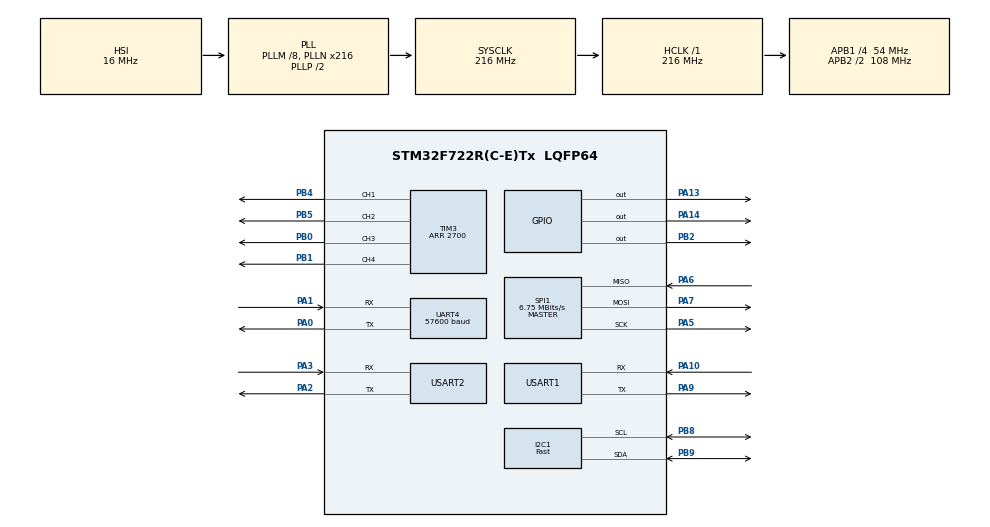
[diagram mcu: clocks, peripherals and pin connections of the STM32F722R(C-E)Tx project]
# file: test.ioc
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Dma.Request0=USART2_RX
Dma.Request1=USART1_RX
Dma.USART1_RX.1.Direction=DMA_PERIPH_TO_MEMORY
Dma.USART1_RX.1.FIFOMode=DMA_FIFOMODE_DISABLE
Dma.USART1_RX.1.Instance=DMA2_Stream2
Dma.USART1_RX.1.MemDataAlignment=DMA_MDATAALIGN_BYTE
Dma.USART1_RX.1.MemInc=DMA_MINC_ENABLE
Dma.USART1_RX.1.Mode=DMA_NORMAL
Dma.USART1_RX.1.PeriphDataAlignment=DMA_PDATAALIGN_BYTE
Dma.USART1_RX.1.PeriphInc=DMA_PINC_DISABLE
Dma.USART1_RX.1.Priority=DMA_PRIORITY_LOW
Dma.USART2_RX.0.Direction=DMA_PERIPH_TO_MEMORY
Dma.USART2_RX.0.FIFOMode=DMA_FIFOMODE_DISABLE
Dma.USART2_RX.0.Instance=DMA1_Stream5
Dma.USART2_RX.0.MemDataAlignment=DMA_MDATAALIGN_BYTE
Dma.USART2_RX.0.MemInc=DMA_MINC_ENABLE
Dma.USART2_RX.0.Mode=DMA_CIRCULAR
Dma.USART2_RX.0.PeriphDataAlignment=DMA_PDATAALIGN_BYTE
Dma.USART2_RX.0.PeriphInc=DMA_PINC_DISABLE
Dma.USART2_RX.0.Priority=DMA_PRIORITY_LOW
I2C1.I2C_Speed_Mode=I2C_Fast
I2C1.Timing=0x6000030D
Mcu.Family=STM32F7
Mcu.Name=STM32F722R(C-E)Tx
Mcu.Package=LQFP64
NVIC.DMA1_Stream5_IRQn=true\:0\:0\:false\:false\:true\:false\:true
NVIC.DMA2_Stream2_IRQn=true\:0\:0\:false\:false\:true\:false\:true
NVIC.I2C1_EV_IRQn=true\:1\:0\:true\:false\:true\:true\:true
NVIC.PriorityGroup=NVIC_PRIORITYGROUP_4
NVIC.TIM2_IRQn=true\:3\:0\:true\:false\:true\:true\:true
NVIC.TIM3_IRQn=true\:0\:0\:false\:false\:true\:true\:true
NVIC.TIM4_IRQn=true\:0\:0\:false\:false\:true\:true\:true
NVIC.UART4_IRQn=true\:0\:0\:false\:false\:true\:true\:true
NVIC.USART1_IRQn=true\:0\:0\:false\:false\:true\:true\:true
NVIC.USART2_IRQn=true\:0\:0\:false\:false\:true\:true\:true
PA0-WKUP.Mode=Asynchronous
PA0-WKUP.Signal=UART4_TX
PA1.Mode=Asynchronous
PA1.Signal=UART4_RX
PA10.Mode=Asynchronous
PA10.Signal=USART1_RX
PA13.GPIO_Speed=GPIO_SPEED_FREQ_VERY_HIGH
PA13.Signal=GPIO_Output
PA14.GPIO_Speed=GPIO_SPEED_FREQ_VERY_HIGH
PA14.Signal=GPIO_Output
PA2.Mode=Asynchronous
PA2.Signal=USART2_TX
PA3.Mode=Asynchronous
PA3.Signal=USART2_RX
PA5.Mode=Full_Duplex_Master
PA5.Signal=SPI1_SCK
PA6.GPIO_PuPd=GPIO_NOPULL
PA6.Mode=Full_Duplex_Master
PA6.Signal=SPI1_MISO
PA7.GPIO_PuPd=GPIO_NOPULL
PA7.Mode=Full_Duplex_Master
PA7.Signal=SPI1_MOSI
PA9.Mode=Asynchronous
PA9.Signal=USART1_TX
PB0.Signal=S_TIM3_CH3
PB1.Signal=S_TIM3_CH4
PB2.GPIO_Speed=GPIO_SPEED_FREQ_VERY_HIGH
PB2.Signal=GPIO_Output
PB4.Signal=S_TIM3_CH1
PB5.Signal=S_TIM3_CH2
PB8.GPIO_Pu=GPIO_PULLUP
PB8.Mode=I2C
PB8.Signal=I2C1_SCL
PB9.GPIO_Pu=GPIO_PULLUP
PB9.Mode=I2C
PB9.Signal=I2C1_SDA
PC14-OSC32_IN.Mode=LSE-External-Oscillator
PC14-OSC32_IN.Signal=RCC_OSC32_IN
PC15-OSC32_OUT.Mode=LSE-External-Oscillator
PC15-OSC32_OUT.Signal=RCC_OSC32_OUT
PH0-OSC_IN.Mode=HSE-External-Clock-Source
PH0-OSC_IN.Signal=RCC_OSC_IN
PH1-OSC_OUT.Mode=HSE-External-Clock-Source
PH1-OSC_OUT.Signal=RCC_OSC_OUT
ProjectManager.HeapSize=0x200
ProjectManager.StackSize=0x400
ProjectManager.TargetToolchain=STM32CubeIDE
RCC.AHBFreq_Value=216000000
RCC.APB1CLKDivider=RCC_HCLK_DIV4
RCC.APB1Freq_Value=54000000
RCC.APB1TimFreq_Value=108000000
RCC.APB2CLKDivider=RCC_HCLK_DIV2
RCC.APB2Freq_Value=108000000
RCC.APB2TimFreq_Value=216000000
RCC.CortexFreq_Value=216000000
RCC.HCLKFreq_Value=216000000
RCC.HSE_VALUE=25000000
RCC.HSI_VALUE=16000000
RCC.PLLM=8
RCC.PLLN=216
RCC.SYSCLKFreq_VALUE=216000000
RCC.SYSCLKSource=RCC_SYSCLKSOURCE_PLLCLK
RCC.USBFreq_Value=216000000
RCC.VCOOutputFreq_Value=432000000
SH.S_TIM3_CH1.0=TIM3_CH1,PWM Generation1 CH1
SH.S_TIM3_CH2.0=TIM3_CH2,PWM Generation2 CH2
SH.S_TIM3_CH3.0=TIM3_CH3,PWM Generation3 CH3
SH.S_TIM3_CH4.0=TIM3_CH4,PWM Generation4 CH4
SPI1.BaudRatePrescaler=SPI_BAUDRATEPRESCALER_16
SPI1.CLKPhase=SPI_PHASE_1EDGE
SPI1.CLKPolarity=SPI_POLARITY_LOW
SPI1.CalculateBaudRate=6.75 MBits/s
SPI1.DataSize=SPI_DATASIZE_8BIT
SPI1.Direction=SPI_DIRECTION_2LINES
SPI1.Mode=SPI_MODE_MASTER
SPI1.NSSPMode=SPI_NSS_PULSE_DISABLE
SPI1.VirtualType=VM_MASTER
TIM2.AutoReloadPreload=TIM_AUTORELOAD_PRELOAD_ENABLE
TIM2.ClockDivision=TIM_CLOCKDIVISION_DIV1
TIM2.Period=27000
TIM3.AutoReloadPreload=TIM_AUTORELOAD_PRELOAD_ENABLE
TIM3.Channel-PWM\ Generation1\ CH1=TIM_CHANNEL_1
TIM3.Channel-PWM\ Generation2\ CH2=TIM_CHANNEL_2
TIM3.Channel-PWM\ Generation3\ CH3=TIM_CHANNEL_3
TIM3.Channel-PWM\ Generation4\ CH4=TIM_CHANNEL_4
TIM3.Period=2700
TIM3.Pulse-PWM\ Generation1\ CH1=540
TIM3.Pulse-PWM\ Generation2\ CH2=540
TIM3.Pulse-PWM\ Generation3\ CH3=540
TIM3.Pulse-PWM\ Generation4\ CH4=540
TIM4.AutoReloadPreload=TIM_AUTORELOAD_PRELOAD_ENABLE
TIM4.ClockDivision=TIM_CLOCKDIVISION_DIV1
TIM4.Period=1620
TIM4.Prescaler=2000
UART4.BaudRate=57600
USART1.VirtualMode-Asynchronous=VM_ASYNC
USART2.VirtualMode-Asynchronous=VM_ASYNC
VP_TIM2_VS_ClockSourceINT.Mode=Internal
VP_TIM3_VS_ClockSourceINT.Mode=Internal
VP_TIM4_VS_ClockSourceINT.Mode=Internal
board=custom

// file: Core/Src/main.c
/* USER CODE BEGIN Header */
/**
  ******************************************************************************
  * @file           : main.c
  * @brief          : Main program body
  ******************************************************************************
  * @attention
  *
  * <h2><center>&copy; Copyright (c) 2021 STMicroelectronics.
  * All rights reserved.</center></h2>
  *
  * This software component is licensed by ST under BSD 3-Clause license,
  * the "License"; You may not use this file except in compliance with the
  * License. You may obtain a copy of the License at:
  *                        opensource.org/licenses/BSD-3-Clause
  *
  ******************************************************************************
  */
/* USER CODE END Header */
#include "main.h"
#include "dma.h"
#include "i2c.h"
#include "spi.h"
#include "tim.h"
#include "usart.h"
#include "gpio.h"

/* USER CODE BEGIN Includes */
#include "string.h"
#include "math.h"
#include "stdbool.h"
#include "filters.h"
#include "ibus.h"
#include "Baro.h"
#include "imu.h"
#include "AHRS.h"
#include "opticalflow.h"
#include "AERS.h"
/* USER CODE END Includes */

/* USER CODE BEGIN PV */

uint16_t failsafe;

uint16_t i = 0;
uint16_t debug;
uint16_t debug2;

float InputfltR,InputfltP,dinputR,dinputP;

uint16_t in_pitch, in_roll, in_throttle, in_yaw;
uint8_t MSG[100] = {'\0'};

uint16_t motor1_out,motor2_out,motor3_out,motor4_out;

#define P 0
#define I 1
#define D 2
#define D2 3
#define R 1
#define Y 2
float ERR[3][4];
float err_last[2];
float K[3][4]= {
	{17000, 0, 2.5 ,12},	//pitch PIDD2  p:50 d:3000
	{17000, 0, 2.5, 12},	//roll PIDD2
	{0.8, 0, 0, 0},	//Yaw PIDD2
};
float roll_factor, pitch_factor, yaw_factor,input_throttle;

bool safety_flag;

biquadFilter_t alt_biquad,delta_alt_biquad;

uint8_t buffer;

//struct filterstruct filter;
/* USER CODE END PV */

void SystemClock_Config(void);
/* USER CODE BEGIN PFP */
void init_filter (biquadFilter_t *filter);
float biquadFilterApply(biquadFilter_t *filter,float input);
float biquadFilterApplyDF1(float input);
void check_arm_satus (void);

#ifdef __GNUC__
  /* With GCC, small printf (option LD Linker->Libraries->Small printf
     set to 'Yes') calls __io_putchar() */
  #define PUTCHAR_PROTOTYPE int __io_putchar(int ch)
#else
  #define PUTCHAR_PROTOTYPE int fputc(int ch, FILE *f)
#endif /* __GNUC__ */

PUTCHAR_PROTOTYPE
{
  /* Place your implementation of fputc here */
  /* e.g. write a character to the EVAL_COM1 and Loop until the end of transmission */
  HAL_UART_Transmit(&huart4, (uint8_t *)&ch, 1, 0xFFFF);

  return ch;
}
/* USER CODE END PFP */

int main(void)
{

  /* MCU Configuration--------------------------------------------------------*/

  /* Reset of all peripherals, Initializes the Flash interface and the Systick. */
  HAL_Init();

  /* USER CODE BEGIN Init */
  //uint8_t UART4_rxBuffer[12] = {0};

 // UART_HandleTypeDef huart4;
  /* USER CODE END Init */

  /* Configure the system clock */
  SystemClock_Config();

  /* Initialize all configured peripherals */
  MX_GPIO_Init();
  MX_DMA_Init();
  MX_UART4_Init();
  MX_SPI1_Init();
  MX_TIM3_Init();
  MX_TIM2_Init();
  MX_USART2_UART_Init();
  MX_I2C1_Init();
  MX_USART1_UART_Init();
  MX_TIM4_Init();
  /* USER CODE BEGIN 2 */

  configure_ibus(&huart2);

 while (opticalflow.lidar.distance == 0)
 {
	 enable_opticalflow(&huart1);
	 HAL_Delay(10);
 }

  init_biquad_filter(&delta_alt_biquad,12.0f,4000.0f);

  HAL_UART_Receive_IT(&huart4, &buffer, 1);
//  HAL_UART_Receive_IT(&huart3, &opticalflow.message.start,7);

 // HAL_UART_Init(&huart3);
 // HAL_Delay(100);
  //enable_opticalflow(&huart3);

 configure_imu (&hspi1,GPIOB,GPIO_PIN_2);

 configure_baro(&hi2c1);

 // calabrate_acc_gyr(&IMU);

  //HAL_Delay(10000);
 // HAL_GPIO_WritePin(GPIOB, GPIO_PIN_2, GPIO_PIN_RESET);
 // HAL_GPIO_WritePin(GPIOB, GPIO_PIN_2, GPIO_PIN_SET);
HAL_TIM_Base_Start_IT(&htim2);

HAL_TIM_PWM_Start(&htim3, TIM_CHANNEL_1);
HAL_TIM_PWM_Start(&htim3, TIM_CHANNEL_2);
HAL_TIM_PWM_Start(&htim3, TIM_CHANNEL_3);
HAL_TIM_PWM_Start(&htim3, TIM_CHANNEL_4);

HAL_TIM_Base_Start_IT(&htim4);

            //  HAL_UART_Receive_DMA(&huart2, ibus, BUFFER_LEN);

    //HAL_GPIO_WritePin(GPIOB, GPIO_PIN_2, GPIO_PIN_RESET);
  //  HAL_GPIO_WritePin(GPIOC, GPIO_PIN_15, GPIO_PIN_RESET);
   // reg_address = 0x75 | 0x80;
   // HAL_SPI_Transmit(&hspi1, &reg_address, 1, 100);
    //HAL_SPI_Receive(&hspi1, &data_rx, 1, 100);
   // HAL_GPIO_WritePin(GPIOB, GPIO_PIN_2, GPIO_PIN_RESET);
   // HAL_GPIO_WritePin(GPIOC, GPIO_PIN_15, GPIO_PIN_RESET);
   // HAL_SPI_TransmitReceive(&hspi1, &reg_address, &data_rx, 2, 100);

   // HAL_GPIO_WritePin(GPIOB, GPIO_PIN_2, GPIO_PIN_SET);
   // HAL_GPIO_WritePin(GPIOC, GPIO_PIN_15,GPIO_PIN_SET);
    //printf("%i,%i,%i\r\n",data_rx[0],data_rx[1],data_rx[2]);
//HAL_Delay(5000);
//TIM3->CCR1 = 900;
//TIM3->CCR2 = 900;

 //HAL_UART_DeInit(&huart3);
 //HAL_Delay(100);
//printf("%f	",c0);
//printf("%f	",c1);
//printf("%f	",c00);
//printf("%f	",c10);
//printf("%f	",c01);
//printf("%f	",c11);
//printf("%f	",c20);
//printf("%f	",c21);
//printf("%f	\r\n",c30);

 while (pressure == 0){
	 read_baro();
 }
	 // registerSetBits(dev, DPS310_REG_PRS_CFG, DPS310_PRS_CFG_BIT_PM_RATE_32HZ | DPS310_PRS_CFG_BIT_PM_PRC_16);

 InitKalmanZ (&NavZ);
float initalAlt = pressureToAltitude(pressure);
  /* USER CODE END 2 */

  /* Infinite loop */
  while (1)
  {

    /* USER CODE BEGIN 3 */
	//  HAL_GPIO_WritePin(GPIOB, GPIO_PIN_2, GPIO_PIN_RESET);
	//  HAL_GPIO_WritePin(GPIOB, GPIO_PIN_2, GPIO_PIN_RESET);

	  //  data_tx[0] = 0x6A;
	  //  data_tx[1] = 0x10;
	  //  HAL_SPI_Transmit(&hspi1, data_tx, 2, 100);
	  //  HAL_GPIO_WritePin(GPIOB, GPIO_PIN_2, GPIO_PIN_SET);

	   // data_tx[0] = 0x6A;
	  //  data_tx[1] = 0x10;
	  //  HAL_SPI_Transmit(&hspi1, data_tx, 2, 100);
	   // HAL_GPIO_WritePin(GPIOB, GPIO_PIN_2, GPIO_PIN_SET);
	  //  HAL_Delay(1);
	 // reg_address = 0x75 | 0x80;
	    //HAL_GPIO_WritePin(GPIOB, GPIO_PIN_2, GPIO_PIN_RESET);

	    //HAL_SPI_Transmit(&hspi1, &reg_address, 1, 100);
	   //// HAL_GPIO_WritePin(GPIOB, GPIO_PIN_2, GPIO_PIN_SET);
	  //  HAL_GPIO_WritePin(GPIOB, GPIO_PIN_2, GPIO_PIN_RESET);
	 // HAL_SPI_Receive(&hspi1, &data_rx, 1, 100);
	 // HAL_GPIO_WritePin(GPIOB, GPIO_PIN_2, GPIO_PIN_RESET);
	   // HAL_SPI_TransmitReceive(&hspi1, &reg_address, &data_rx, 2, 100);
	    //HAL_GPIO_WritePin(GPIOB, GPIO_PIN_2, GPIO_PIN_SET);

if (failsafe > 2000)
{
	safety_flag = 0;
}
	 // printf("hi\r\n");
	//  in_pitch = ibus[1];
	 // 	  in_roll = ibus[2];
	  //	  in_throttle = ibus[3];
	  	//  in_yaw = ibus[4];
	 // HAL_UART_Receive(&huart3, ibus, 1,100);

	  	 // for (i=0;i<8;i++)
	  	  //{
	  	//	  printf("%i	",ibus[i]);
	  	 // }
	  	// printf("\r\n");
	  	 // printf("%4d\t%4d\t%4d\t%4d\t", ibus[1], in_roll, in_throttle, in_yaw);
	 // printf("%i,	%i,	%i,	%i,	%i,	%i,	%i	",acc_data[7],acc_data[8],acc_data[9],acc_data[10],acc_data[11],acc_data[12],acc_data[13]);
	//  printf("%i,	%i,	%i,	%i,	%i,	%i,	%i,	%i,	%i,	%i,	%i\r\n",ibus[0],ibus[1],ibus[2],ibus[3],ibus[4],ibus[5],ibus[6],ibus[7],ibus[8],ibus[9],ibus[10]);
	// printf("%f,	%f,	%f	%f,\r\n",InputP,InputR,InputY,InputT);
	 // printf("%i	%i	%i",InputR,fgyry,debug);
//	 printf("	%f	%f	%f",gyrx,gyry,gyrz);
 //printf("	%f	%f	%f	%f	",roll_factor,pitch_factor,dinputR,dinputP);
//printf("%i	",safety_flag);

//printf("%f\r\n",motor1_out);
	  // read_baro();
	 // update_AERS();

	 // printf("%f 	%f\r\n",pressure,temperature);
///printf("%f	%f	%f	%f	%f	%f	%i	",gyrx,gyry,gyrz,accx,accy,accz,debug);

//printf("%i	%i	%i	%i\r\n",opticalflow.lidar.distance,opticalflow.flow.vx,opticalflow.flow.vy,debug);
	 // baro_alt = (-pressure + inital_preqssure)*11.1;
	 // printf("%f	\r\n",baro_alt);
	//  printf("%f	%f	%f\r\n",InputR,InputP,InputY);
	  //printf("%f	%f	%f\r\n",baro_alt,pressure,temperature);
	//  printf("%i	",DPS310_rx_buffer[2]);
	//  printf("%i\r\n",DPS310_rx_buffer[3]);
	    //HAL_Delay(100);
	  //  printf("%f,	%f,	%f\r\n", rMat[0][0], rMat[0][1], rMat[0][2]);
	   // printf("%f,	%f,	%f\r\n", rMat[1][0], rMat[1][1], rMat[1][2]);
	   // printf("%f,	%f,	%f\r\n", rMat[2][0], rMat[2][1], rMat[2][2]);
	   // printf("\r\n\r\n\r\n\r\n\r\n\r\n\r\n\r\n\r\n\r\n");

	  //  printf("%f,	%f,	%f	", roll, pitch, yaw);
//printf("%i	%i",debug,debug2);
//float newBaroAlt = pressureToAltitude(pressure);

//if (M_FLAG){
	//initalAlt = newBaroAlt;
//}

	//printf("%f	%f	%f	%f\r\n",(newBaroAlt-initalAlt),pressure,initalAlt,newBaroAlt);
	//printf("%i	 ",debug);
	//read_baro();
	   // printf("%f,	%f,	%f	", roll, pitch, yaw);
	   // printf("%f	%f	%f	%f	%f	%f	\r\n",IMU.accx,IMU.accy,IMU.accz,IMU.gyrx,IMU.gyry,IMU.gyrz);
	   // printf("hi %i,%i,%i\r\n",acc_data[0],acc_data[1],acc_data[2]);
	   // TIM3->CCR1 = ibus[4];
	   // TIM3->CCR2 = ibus[4];
	    //TIM3->CCR3 = ibus[4];
	 	//TIM3->CCR4 = ibus[4];

//printf("%f	%f	%f	%f",NavZ.Acc.Acc,NavZ.Est.Pos,NavZ.Est.Vel,NavZ.Acc.Bias);

//printf("%f	%f	%f	",NavZ.Corr.Pos,NavZ.Corr.Vel,baroAltResidual);

//printf("%f	%f	%f",NavZ.Rusult.Pos,NavZ.Rusult.Vel,NavZ.Baro.Pos);

//for (uint16_t i = 0; i<11;i++)
//{
	//printf("%f\t",*((float*)(&NavAlt)+i));
//}

//printf("%i\r\n",debug);
//printf("\r\n");
printf("%f	%f	%f	%f	%f	%f\r\n",NavAlt.BaroAlt*10,NavAlt.BaroVel,NavAlt.Pos*10,NavAlt.Vel,NavAlt.accint_delayed*400,NavAlt.VelCorr*400);
//printf ("%i		",BuffPtr);
//printf("%f	",NavAlt.Acc_feedback);
//printf("%f	%f\r\n",NavAlt.BaroVel,NavAlt.Vel);
  }

 // }
  /* USER CODE END 3 */
}

void SystemClock_Config(void)
{
  RCC_OscInitTypeDef RCC_OscInitStruct = {0};
  RCC_ClkInitTypeDef RCC_ClkInitStruct = {0};
  RCC_PeriphCLKInitTypeDef PeriphClkInitStruct = {0};

  /** Configure LSE Drive Capability
  */
  HAL_PWR_EnableBkUpAccess();
  /** Configure the main internal regulator output voltage
  */
  __HAL_RCC_PWR_CLK_ENABLE();
  __HAL_PWR_VOLTAGESCALING_CONFIG(PWR_REGULATOR_VOLTAGE_SCALE1);
  /** Initializes the RCC Oscillators according to the specified parameters
  * in the RCC_OscInitTypeDef structure.
  */
  RCC_OscInitStruct.OscillatorType = RCC_OSCILLATORTYPE_HSI;
  RCC_OscInitStruct.HSIState = RCC_HSI_ON;
  RCC_OscInitStruct.HSICalibrationValue = RCC_HSICALIBRATION_DEFAULT;
  RCC_OscInitStruct.PLL.PLLState = RCC_PLL_ON;
  RCC_OscInitStruct.PLL.PLLSource = RCC_PLLSOURCE_HSI;
  RCC_OscInitStruct.PLL.PLLM = 8;
  RCC_OscInitStruct.PLL.PLLN = 216;
  RCC_OscInitStruct.PLL.PLLP = RCC_PLLP_DIV2;
  RCC_OscInitStruct.PLL.PLLQ = 2;
  if (HAL_RCC_OscConfig(&RCC_OscInitStruct) != HAL_OK)
  {
    Error_Handler();
  }
  /** Activate the Over-Drive mode
  */
  if (HAL_PWREx_EnableOverDrive() != HAL_OK)
  {
    Error_Handler();
  }
  /** Initializes the CPU, AHB and APB buses clocks
  */
  RCC_ClkInitStruct.ClockType = RCC_CLOCKTYPE_HCLK|RCC_CLOCKTYPE_SYSCLK
                              |RCC_CLOCKTYPE_PCLK1|RCC_CLOCKTYPE_PCLK2;
  RCC_ClkInitStruct.SYSCLKSource = RCC_SYSCLKSOURCE_PLLCLK;
  RCC_ClkInitStruct.AHBCLKDivider = RCC_SYSCLK_DIV1;
  RCC_ClkInitStruct.APB1CLKDivider = RCC_HCLK_DIV4;
  RCC_ClkInitStruct.APB2CLKDivider = RCC_HCLK_DIV2;

  if (HAL_RCC_ClockConfig(&RCC_ClkInitStruct, FLASH_LATENCY_7) != HAL_OK)
  {
    Error_Handler();
  }
  PeriphClkInitStruct.PeriphClockSelection = RCC_PERIPHCLK_USART1|RCC_PERIPHCLK_USART2
                              |RCC_PERIPHCLK_UART4|RCC_PERIPHCLK_I2C1;
  PeriphClkInitStruct.Usart1ClockSelection = RCC_USART1CLKSOURCE_PCLK2;
  PeriphClkInitStruct.Usart2ClockSelection = RCC_USART2CLKSOURCE_PCLK1;
  PeriphClkInitStruct.Uart4ClockSelection = RCC_UART4CLKSOURCE_PCLK1;
  PeriphClkInitStruct.I2c1ClockSelection = RCC_I2C1CLKSOURCE_PCLK1;
  if (HAL_RCCEx_PeriphCLKConfig(&PeriphClkInitStruct) != HAL_OK)
  {
    Error_Handler();
  }
}

/* USER CODE BEGIN 4 */
void PID (void);
void HAL_TIM_PeriodElapsedCallback(TIM_HandleTypeDef* htim)
{
	if (htim == &htim2)
		{
		debug2++;
			failsafe++;
			IMU_read(&IMU);
			PID();
			updateIMU(&IMU);
			debug++;
		}

	if (htim == &htim4)
	{
		//debug++;
		read_baro();
	}

}

void update_motors (uint16_t M1,uint16_t M2,uint16_t M3,uint16_t M4)
{
TIM3->CCR1 = (M3/31)+600;
TIM3->CCR2 = (M1/31)+600;
TIM3->CCR3 = (M4/31)+600;
TIM3->CCR4 = (M2/31)+600;
}

float constrainf(float input,float max, float min);

void motor_mix (void);
void PID (void)
{
	dinputR = InputfltR;
	dinputP = InputfltP;

	InputfltR = 0.958*(InputfltR) + 0.015*(InputR*938.719727597f);
	InputfltP = 0.958*(InputfltP) + 0.015*(InputP*938.719727597f);

	dinputR = 4000*(InputfltR - dinputR);
	dinputP = 4000*(InputfltP - dinputP);

	//0xFFFF/4000=16ishperdegree
	err_last[P] = ERR[P][D];
	ERR[P][P] = pitch - InputP;
	ERR[P][D] = -IMU.gyry - (dinputP);
	ERR[P][D2] = ERR[P][D] - err_last[P];

	err_last[R] = ERR[R][D];
	ERR[R][D] = IMU.gyrx - (dinputR);
	ERR[R][P] = -roll - InputR;
	ERR[R][D2] = ERR[R][D] - err_last[R];

	ERR[Y][P] = -IMU.gyrz - InputY;

	pitch_factor = (K[P][P]*ERR[P][P]) + (K[P][I]*ERR[P][I]) + (K[P][D]*ERR[P][D]) + (K[P][D2]*ERR[P][D2]);
	roll_factor = (K[R][P]*ERR[R][P]) + (K[R][I]*ERR[R][I]) + (K[R][D]*ERR[R][D]) + (K[R][D2]*ERR[R][D2]);
	yaw_factor = (K[Y][P]*ERR[Y][P]) + (K[Y][I]*ERR[Y][I]);

	//alt = alt_est;
	//d_alt = (biquadFilterApply(&delta_alt_biquad,(alt - alt1))); //   bandpass 2 lp 1 hp
//	alt_setpoint = 300;
	//alt_err  = alt - alt_setpoint;

	input_throttle = InputT*60 - NavAlt.Vel*alt_Kp;
	//input_throttle = InputT*60;
	//input_throttle = ( InputT*60 - d_alt*alt_Kp - alt_err * 0)/constrainf(costilt,1,0.6);
	motor_mix();
	//ERR[R][D2] = ERR[R][D];
	//ERR[P][D2] = ERR[P][D];
	//alt1 = alt;
}

float constrainf(float input,float max, float min)
{
	if (input < min)
	{
	return min;
	}
	else if (input > max)
	{
		return max;
	}
	else
	{
		return input;
	}
}

void motor_mix (void)
{
	motor1_out = +roll_factor - pitch_factor - yaw_factor + input_throttle + 0x2000;
	if (motor1_out < 0x1900)
	{
		motor1_out = 0x1900;
	}
	motor2_out = +roll_factor + pitch_factor + yaw_factor + input_throttle + 0x2000 ;
	if (motor2_out < 0x1900)
	{
		motor2_out = 0x1900;
	}
	motor3_out = -roll_factor - pitch_factor + yaw_factor + input_throttle + 0x2000;
	if (motor3_out < 0x1900)
	{
		motor3_out = 0x1900;
	}
	motor4_out = -roll_factor + pitch_factor - yaw_factor + input_throttle + 0x2000;
	if (motor4_out < 0x1900)
	{
		motor4_out = 0x1900;
	}

	if (safety_flag == 1)
	{
		update_motors(motor1_out,motor2_out,motor3_out,motor4_out);
	}
	else
	{
		update_motors(0,0,0,0);
	}
	//debug++;
}

void HAL_UART_RxCpltCallback(UART_HandleTypeDef *huart)
{

	if (huart == &huart1)
	{
		//debug++;
		optical_flow_callback(huart);
		//HAL_UART_Receive_DMA(&huart1, &opticalflow.message.start,60);
	}

	if (huart == &huart2)
	{
		failsafe = 0;
	ibus_callback();
	}

	if (huart == &huart4)
		{
		 switch(buffer)
		 	{
		 	case 'q':
		 	safety_flag = !safety_flag;
		 	inital_pressure = pressure;
		 	alt_est = 0;
		 	baro_alt = 0;
		 	break;

		 	case 'p':
		 	K[P][P]+=1000;
		 	K[R][P]+=1000;
		 	break;

		 	case 'l':
		 	K[P][P]-=1000;
		 	K[R][P]-=1000;
		 	break;

		 	case 'd':
		 	K[P][D]+=1;
		 	K[R][D]+=1;
		 	break;

		 	case 'x':
		 	K[P][D]-=1;
		 	K[R][D]-=1;
		 	break;

		 	case 'f':
			K[P][D2]+=1;
			K[R][D2]+=1;
			break;

			case 'c':
			K[P][D2]-=1;
			K[R][D2]-=1;
			break;

		 	case 'y':
			K[Y][P]+=0.05;
			break;

			case 'g':
			K[Y][P]-=0.05;
			break;

			case 'a':
			alt_Kp+=1;//0.5
			break;

			case 'z':
			alt_Kp-=1;
			break;

			case 'm':
			M_FLAG = !M_FLAG;
			break;

			case'e':
				printf("\r\n\r\n\r\n");
		printf("%f	%f	%f	%f\r\n",K[P][P],K[P][I],K[P][D],K[P][D2]);
		printf("%f	%f	%f	%f\r\n",K[R][P],K[R][I],K[R][D],K[R][D2]);
		printf("%f	%f	%f	%f\r\n",K[Y][P],K[Y][I],K[Y][D],K[Y][D2]);
		printf("\r\n\r\n\r\n");

		break;
		 	}
		 HAL_UART_Receive_IT(&huart4, &buffer, 1);
		}

}

/* USER CODE END 4 */

void Error_Handler(void)
{
  __disable_irq();
  while (1)
  {
  }
}

/************************ (C) COPYRIGHT STMicroelectronics *****END OF FILE****/
